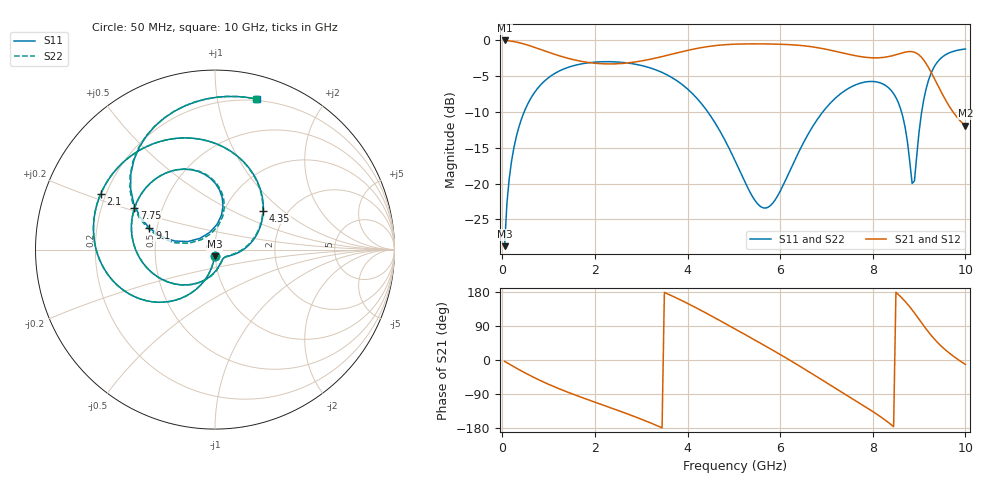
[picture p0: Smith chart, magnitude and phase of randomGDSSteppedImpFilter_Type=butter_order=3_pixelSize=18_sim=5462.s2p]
! freq	dB(S11)	phase(S11)	dB(S12)	phase(S12)
!  dB(S21)	phase(S21)	dB(S22)	phase(S22)
!S-par simulation data
#  GHz  S  DB  R 50
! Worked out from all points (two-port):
!   200 points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, 50 MHz to 10 GHz, reference 50 ohm
!   highest |S21| = -0.01 dB at 50 MHz (marker M1); lowest = -11.9 dB at 10 GHz (marker M2)
!   |S21| within 3 dB of the highest: start of sweep to 1.783 GHz; 2.872 GHz to 9.128 GHz (6.257 GHz wide, 104 % of centre)
!   lowest |S11| = -28.7 dB at 50 MHz (marker M3), VSWR 1.08, Z = 49.6 - j3.63 ohm
!   |S11| at or under -10 dB: start of sweep to 471.7 MHz; 4.439 GHz to 6.919 GHz (2.48 GHz wide, 43.7 % of centre); 8.62 GHz to 9.056 GHz (435.6 MHz wide, 4.93 % of centre)
!   |S22| runs from -28.7 to -1.2 dB; largest |S21 - S12| = 0
!   S11 on the Smith chart (normalised r, x): 50 MHz: 0.99, -0.07; 2.1 GHz: 0.18, +0.22; 4.35 GHz: 1.51, +0.75; 7.75 GHz: 0.35, +0.21; 9.1 GHz: 0.45, +0.13; 10 GHz: 0.19, +1.30
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0.05  -28.72 -93.8  -0.01 -3.6  -0.01 -3.6  -28.72 -93.8
0.2  -16.86 -104.8  -0.11 -14.3  -0.11 -14.3  -16.86 -104.8
0.5  -9.56 -125.1  -0.56 -34.6  -0.56 -34.6  -9.56 -125.1
1  -5.20 -154.6  -1.66 -64.2  -1.66 -64.2  -5.20 -154.6
1.75  -3.23 169.2  -2.98 -100.3  -2.98 -100.3  -3.23 169.3
2.1  -2.99 153.9  -3.24 -115.6  -3.24 -115.6  -2.99 154.0
3.4  -4.33 93.9  -2.34 -176.3  -2.34 -176.3  -4.33 94.1
3.9  -6.24 66.2  -1.55 155.4  -1.55 155.4  -6.24 66.6
4.35  -9.22 38.9  -0.95 127.2  -0.95 127.2  -9.22 39.6
5.05  -17.12 -5.0  -0.52 80.2  -0.52 80.2  -17.10 -3.3
5.55  -23.06 -37.2  -0.49 46.0  -0.49 46.0  -22.99 -33.9
5.95  -21.65 -68.9  -0.53 18.1  -0.53 18.1  -21.64 -66.5
6.7  -12.05 -128.2  -0.91 -37.1  -0.91 -37.1  -12.06 -127.9
7.2  -8.02 -166.3  -1.53 -75.0  -1.53 -75.0  -8.01 -166.4
7.75  -5.94 152.9  -2.28 -116.5  -2.28 -116.5  -5.94 152.5
8.35  -6.67 106.5  -2.25 -166.1  -2.25 -166.1  -6.68 105.8
8.65  -10.67 82.1  -1.72 161.0  -1.72 161.0  -10.73 80.5
8.85  -19.96 106.4  -1.58 132.4  -1.58 132.4  -20.77 104.0
9.1  -8.30 161.9  -2.74 90.5  -2.74 90.5  -8.36 163.3
9.4  -2.98 126.5  -6.22 46.0  -6.22 46.0  -3.00 127.0
9.7  -1.62 97.5  -9.68 13.7  -9.68 13.7  -1.62 97.8
10  -1.20 74.5  -11.90 -11.8  -11.90 -11.8  -1.21 74.7
